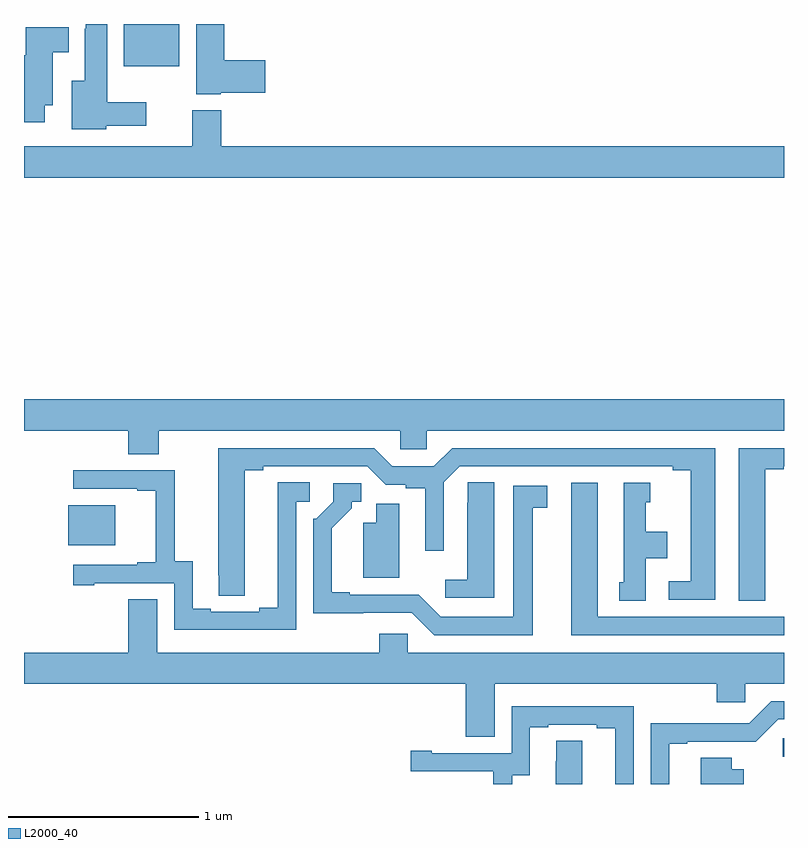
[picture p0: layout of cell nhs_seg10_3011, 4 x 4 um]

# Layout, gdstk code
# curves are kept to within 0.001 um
import gdstk
lib = gdstk.Library(unit=1e-6, precision=1e-09)
def R(c, l, rs):  # rectangles x0, y0, x1, y1
    for r in rs: c.add(gdstk.rectangle(r[:2], r[2:], *l))
def P(c, l, *ps):  # polygons
    for p in ps: c.add(gdstk.Polygon(p, *l))
L2000_40 = (2000, 40)

nhs_seg10_3011 = lib.new_cell('nhs_seg10_3011')
R(nhs_seg10_3011, L2000_40, [(278.994,1254.644,279,1254.741), (275.234,1255.757,275.479,1255.966), (275.525,1258.277,275.818,1258.5)])
P(nhs_seg10_3011, L2000_40, [(276.036,1258.139),(276.271,1258.139),(276.271,1258.31),(276.053,1258.31),(276.053,1258.5),(275.906,1258.5),(275.906,1258.13),(276.036,1258.13)],
  [(275.433,1257.965),(275.644,1257.965),(275.644,1258.087),(275.437,1258.087),(275.437,1258.5),(275.325,1258.5),(275.325,1258.475),(275.321,1258.475),(275.321,1258.201),(275.252,1258.201),(275.252,1257.947),(275.433,1257.947)],
  [(275.11,1258.073),(275.152,1258.073),(275.152,1258.352),(275.236,1258.352),(275.236,1258.483),(275.009,1258.483),(275.009,1258.336),(275,1258.336),(275,1257.984),(275.11,1257.984)],
  [(279,1257.856),(276.038,1257.856),(276.038,1258.045),(275.885,1258.045),(275.885,1257.856),(275,1257.856),(275,1257.692),(279,1257.692)],
  [(275.709,1256.36),(276.981,1256.36),(276.981,1256.262),(277.119,1256.262),(277.119,1256.36),(279,1256.36),(279,1256.524),(275,1256.524),(275,1256.36),(275.549,1256.36),(275.549,1256.236),(275.709,1256.236)],
  [(278.902,1256.157),(278.998,1256.157),(278.998,1256.172),(279,1256.172),(279,1256.268),(278.762,1256.268),(278.762,1255.465),(278.902,1255.465)],
  [(278.638,1256.268),(277.253,1256.268),(277.157,1256.172),(276.939,1256.172),(276.843,1256.268),(276.023,1256.268),(276.024,1255.492),(276.163,1255.492),(276.163,1256.152),(276.259,1256.152),(276.259,1256.172),(276.807,1256.172),(276.903,1256.076),(277.008,1256.076),(277.008,1256.056),(277.112,1256.056),(277.112,1255.728),(277.209,1255.728),(277.209,1256.088),(277.293,1256.172),(278.414,1256.172),(278.414,1256.152),(278.51,1256.152),(278.51,1255.566),(278.394,1255.566),(278.394,1255.47),(278.638,1255.47)],
  [(276.432,1255.986),(276.505,1255.986),(276.505,1256.087),(276.335,1256.087),(276.335,1255.427),(276.239,1255.427),(276.239,1255.407),(275.983,1255.407),(275.983,1255.422),(275.887,1255.422),(275.887,1255.673),(275.793,1255.673),(275.793,1256.151),(275.259,1256.151),(275.259,1256.055),(275.597,1256.055),(275.597,1256.043),(275.693,1256.043),(275.693,1255.666),(275.597,1255.666),(275.597,1255.653),(275.259,1255.653),(275.259,1255.545),(275.371,1255.545),(275.371,1255.557),(275.79,1255.557),(275.79,1255.311),(276.432,1255.311)],
  [(277.474,1256.087),(277.335,1256.087),(277.335,1255.979),(277.334,1255.979),(277.334,1255.576),(277.218,1255.576),(277.218,1255.479),(277.474,1255.479)],
  [(279,1255.38),(278.02,1255.38),(278.02,1256.086),(277.88,1256.086),(277.88,1255.284),(279,1255.284)],
  [(278.272,1255.688),(278.386,1255.688),(278.386,1255.828),(278.272,1255.828),(278.272,1255.983),(278.296,1255.983),(278.296,1256.086),(278.156,1256.086),(278.156,1255.563),(278.132,1255.563),(278.132,1255.465),(278.272,1255.465)],
  [(277.678,1255.954),(277.753,1255.954),(277.753,1256.07),(277.574,1256.07),(277.574,1255.38),(277.194,1255.38),(277.077,1255.497),(276.715,1255.497),(276.715,1255.51),(276.619,1255.51),(276.619,1255.846),(276.724,1255.951),(276.724,1255.986),(276.774,1255.986),(276.774,1256.082),(276.627,1256.082),(276.627,1255.986),(276.537,1255.896),(276.522,1255.896),(276.522,1255.4),(277.041,1255.401),(277.158,1255.284),(277.678,1255.284)],
  [(276.976,1255.974),(276.854,1255.974),(276.854,1255.876),(276.785,1255.876),(276.785,1255.586),(276.976,1255.586)],
  [(277.477,1255.028),(278.645,1255.028),(278.645,1254.93),(278.796,1254.93),(278.796,1255.028),(279,1255.028),(279,1255.192),(277.02,1255.192),(277.02,1255.29),(276.869,1255.29),(276.869,1255.192),(275.701,1255.192),(275.701,1255.472),(275.549,1255.472),(275.549,1255.192),(275,1255.192),(275,1255.028),(277.325,1255.028),(277.325,1254.748),(277.477,1254.748)],
  [(278.395,1254.711),(278.491,1254.711),(278.491,1254.723),(278.852,1254.722),(278.97,1254.84),(279,1254.84),(279,1254.936),(278.934,1254.936),(278.817,1254.819),(278.561,1254.819),(278.561,1254.821),(278.298,1254.821),(278.298,1254.5),(278.395,1254.5)],
  [(277.569,1254.547),(277.663,1254.547),(277.663,1254.798),(277.759,1254.798),(277.759,1254.813),(278.015,1254.813),(278.015,1254.793),(278.111,1254.793),(278.111,1254.5),(278.208,1254.5),(278.208,1254.909),(277.566,1254.909),(277.566,1254.663),(277.147,1254.663),(277.147,1254.676),(277.035,1254.676),(277.035,1254.567),(277.469,1254.567),(277.469,1254.566),(277.47,1254.566),(277.47,1254.5),(277.569,1254.5)],
  [(277.939,1254.728),(277.8,1254.728),(277.8,1254.62),(277.799,1254.62),(277.799,1254.5),(277.939,1254.5)],
  [(278.788,1254.577),(278.725,1254.577),(278.725,1254.638),(278.561,1254.638),(278.561,1254.5),(278.788,1254.5)])

lib.write_gds('nhs_seg10_3011.gds')
